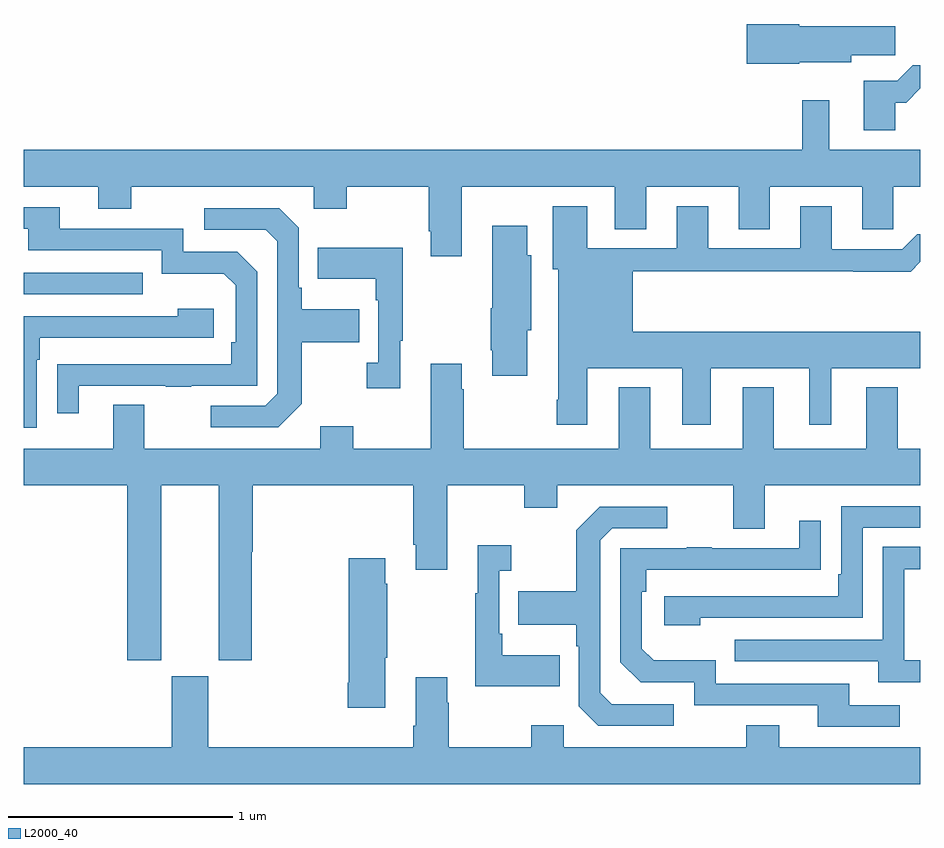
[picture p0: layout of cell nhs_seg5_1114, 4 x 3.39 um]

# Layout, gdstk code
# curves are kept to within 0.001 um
import gdstk
lib = gdstk.Library(unit=1e-6, precision=1e-09)
def R(c, l, rs):  # rectangles x0, y0, x1, y1
    for r in rs: c.add(gdstk.rectangle(r[:2], r[2:], *l))
def P(c, l, *ps):  # polygons
    for p in ps: c.add(gdstk.Polygon(p, *l))
L2000_40 = (2000, 40)

nhs_seg5_1114 = lib.new_cell('nhs_seg5_1114')
R(nhs_seg5_1114, L2000_40, [(179,885.585,179.531,885.681)])
P(nhs_seg5_1114, L2000_40, [(182.46,886.619),(182.692,886.619),(182.692,886.651),(182.887,886.651),(182.887,886.78),(182.46,886.78),(182.46,886.79),(182.226,886.79),(182.226,886.612),(182.46,886.612)],
  [(182.887,886.439),(182.936,886.439),(183,886.503),(183,886.607),(182.966,886.607),(182.896,886.537),(182.747,886.537),(182.747,886.317),(182.887,886.317)],
  [(179,886.064),(179.333,886.064),(179.333,885.965),(179.481,885.965),(179.481,886.064),(180.294,886.064),(180.294,885.965),(180.441,885.965),(180.441,886.064),(180.808,886.064),(180.808,885.865),(180.815,885.865),(180.815,885.753),(180.955,885.753),(180.955,886.064),(181.637,886.064),(181.637,885.874),(181.777,885.874),(181.777,886.064),(182.189,886.064),(182.189,885.874),(182.329,885.874),(182.329,886.064),(182.741,886.064),(182.741,885.874),(182.88,885.874),(182.88,886.064),(183,886.064),(183,886.228),(182.593,886.228),(182.593,886.45),(182.472,886.45),(182.472,886.228),(179,886.228)],
  [(181.513,885.254),(181.937,885.254),(181.937,885.003),(182.065,885.003),(182.065,885.254),(182.504,885.254),(182.504,885.003),(182.602,885.003),(182.602,885.254),(183,885.254),(183,885.418),(181.717,885.418),(181.717,885.688),(182.701,885.688),(182.701,885.686),(182.957,885.686),(183,885.729),(183,885.853),(182.986,885.853),(182.919,885.786),(182.605,885.786),(182.605,885.976),(182.465,885.976),(182.465,885.789),(182.053,885.789),(182.053,885.976),(181.913,885.976),(181.913,885.789),(181.513,885.789),(181.513,885.976),(181.361,885.976),(181.361,885.696),(181.385,885.696),(181.385,885.115),(181.378,885.115),(181.378,885.003),(181.513,885.003)],
  [(179.245,885.177),(179.635,885.177),(179.635,885.172),(179.747,885.172),(179.747,885.177),(180.042,885.177),(180.042,885.684),(179.952,885.774),(179.712,885.774),(179.712,885.876),(179.161,885.876),(179.161,885.972),(179,885.972),(179,885.876),(179.021,885.876),(179.021,885.78),(179.616,885.78),(179.616,885.677),(179.893,885.677),(179.946,885.624),(179.946,885.37),(179.926,885.37),(179.926,885.273),(179.149,885.272),(179.149,885.054),(179.245,885.054)],
  [(180.241,885.097),(180.241,885.37),(180.497,885.37),(180.497,885.517),(180.241,885.517),(180.241,885.613),(180.228,885.613),(180.228,885.882),(180.141,885.969),(179.805,885.969),(179.805,885.873),(180.081,885.873),(180.132,885.822),(180.132,885.141),(180.078,885.087),(179.835,885.087),(179.835,884.991),(180.135,884.991)],
  [(181.246,885.423),(181.264,885.423),(181.264,885.759),(181.246,885.759),(181.246,885.889),(181.091,885.889),(181.091,885.523),(181.084,885.523),(181.084,885.334),(181.091,885.334),(181.091,885.222),(181.246,885.222)],
  [(180.679,885.377),(180.691,885.377),(180.691,885.793),(180.313,885.793),(180.313,885.653),(180.57,885.653),(180.57,885.557),(180.582,885.557),(180.582,885.278),(180.531,885.278),(180.531,885.165),(180.679,885.165)],
  [(179.058,885.293),(179.071,885.293),(179.071,885.39),(179.848,885.39),(179.848,885.52),(179.687,885.52),(179.687,885.486),(179,885.486),(179,884.988),(179.058,884.988)],
  [(179.614,884.732),(179.87,884.732),(179.87,883.953),(180.018,883.953),(180.018,884.436),(180.023,884.436),(180.023,884.732),(180.737,884.732),(180.737,884.467),(180.749,884.467),(180.749,884.355),(180.889,884.355),(180.889,884.732),(181.234,884.732),(181.234,884.633),(181.381,884.633),(181.381,884.732),(182.165,884.732),(182.165,884.538),(182.305,884.538),(182.305,884.732),(183,884.732),(183,884.896),(182.899,884.896),(182.899,885.169),(182.759,885.169),(182.759,884.896),(182.347,884.896),(182.347,885.169),(182.207,885.169),(182.207,884.896),(181.795,884.896),(181.795,885.169),(181.655,885.169),(181.655,884.896),(180.963,884.896),(180.963,885.161),(180.955,885.161),(180.955,885.274),(180.815,885.274),(180.815,884.896),(180.471,884.896),(180.471,884.995),(180.323,884.995),(180.323,884.896),(179.539,884.896),(179.539,885.091),(179.399,885.091),(179.399,884.896),(179,884.896),(179,884.732),(179.462,884.732),(179.462,883.953),(179.614,883.953)],
  [(182.018,884.142),(182.742,884.142),(182.742,884.544),(183,884.544),(183,884.64),(182.646,884.64),(182.646,884.335),(182.633,884.335),(182.633,884.238),(181.857,884.238),(181.857,884.108),(182.018,884.108)],
  [(181.9,883.755),(181.623,883.755),(181.572,883.806),(181.572,884.487),(181.626,884.541),(181.87,884.541),(181.87,884.637),(181.569,884.637),(181.464,884.531),(181.464,884.259),(181.207,884.259),(181.207,884.111),(181.464,884.111),(181.464,884.015),(181.476,884.015),(181.476,883.746),(181.563,883.659),(181.9,883.659)],
  [(182.908,883.752),(182.683,883.752),(182.683,883.848),(182.088,883.848),(182.088,883.951),(181.811,883.951),(181.758,884.004),(181.758,884.258),(181.778,884.258),(181.778,884.355),(182.555,884.356),(182.555,884.575),(182.459,884.575),(182.459,884.451),(182.069,884.451),(182.069,884.456),(181.957,884.456),(181.957,884.451),(181.662,884.451),(181.662,883.944),(181.752,883.854),(181.992,883.854),(181.992,883.752),(182.543,883.752),(182.543,883.656),(182.908,883.656)],
  [(181.391,883.975),(181.135,883.975),(181.135,884.071),(181.122,884.071),(181.122,884.351),(181.174,884.351),(181.174,884.464),(181.025,884.464),(181.025,884.251),(181.014,884.251),(181.014,883.835),(181.391,883.835)],
  [(183,883.953),(182.928,883.953),(182.928,884.358),(183,884.358),(183,884.459),(182.832,884.459),(182.832,884.043),(182.173,884.043),(182.173,883.947),(182.813,883.947),(182.813,883.853),(183,883.853)],
  [(180.613,883.963),(180.621,883.963),(180.621,884.294),(180.613,884.294),(180.613,884.407),(180.451,884.407),(180.451,883.852),(180.446,883.852),(180.446,883.74),(180.613,883.74)],
  [(183,883.564),(182.371,883.564),(182.371,883.663),(182.224,883.663),(182.224,883.564),(181.41,883.564),(181.41,883.663),(181.264,883.663),(181.264,883.564),(180.897,883.564),(180.897,883.763),(180.889,883.763),(180.889,883.876),(180.749,883.876),(180.749,883.66),(180.737,883.66),(180.737,883.564),(179.824,883.564),(179.824,883.881),(179.66,883.881),(179.66,883.564),(179,883.564),(179,883.4),(183,883.4)])

lib.write_gds('nhs_seg5_1114.gds')
